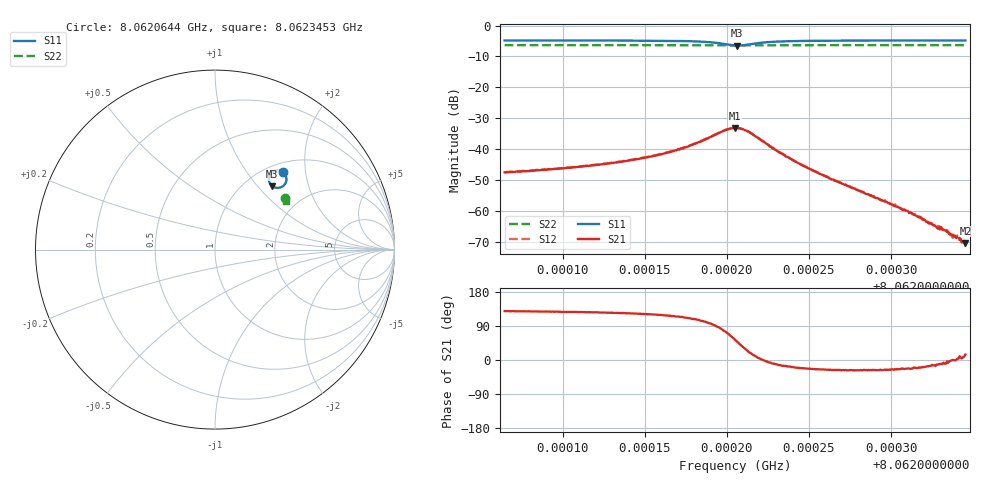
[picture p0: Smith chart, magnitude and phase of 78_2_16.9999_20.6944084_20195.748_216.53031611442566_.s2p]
#  HZ  S  RI  R  50.00
! Rohde & Schwarz Vector Network Analyzer
! Rohde-Schwarz,ZNB20-2Port,1311601062101988,3.16
! Created: UTC 3/20/2024, 10:55:36 PM
! freq[Hz]  re:S11  im:S11  re:S21  im:S21  re:S12  im:S12  re:S22  im:S22
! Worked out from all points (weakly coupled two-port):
!   401 points, 8.0620644 GHz to 8.0623453 GHz, reference 50 ohm
!   highest |S21| = -33.15 dB at 8.0622049 GHz (marker M1); lowest = -70.5 dB at 8.0623453 GHz (marker M2)
!   lowest |S11| = -6.4 dB at 8.0622063 GHz (marker M3), VSWR 2.82, Z = 65.7 + j60.1 ohm
!   |S11| at or under -10 dB: nowhere
!   |S22| runs from -6.4 to -6.3 dB; largest |S21 - S12| = 0.0016
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8.06206443e9  0.3812 0.4311  -0.00264 0.00324  -0.00246 0.00344  0.388 0.2865
8.06211149e9  0.3868 0.4248  -0.00309 0.00417  -0.00289 0.00441  0.3897 0.2839
8.06213466e9  0.3904 0.4196  -0.00344 0.0051  -0.00318 0.00538  0.3904 0.2825
8.06215854e9  0.3952 0.4102  -0.00394 0.00706  -0.00355 0.00742  0.3911 0.2811
8.06217469e9  0.3981 0.3965  -0.00393 0.0099  -0.00341 0.0101  0.3917 0.2796
8.06219014e9  0.3916 0.368  -0.00172 0.0156  -0.00053 0.0158  0.3915 0.2777
8.06219927e9  0.3622 0.3454  0.00568 0.0195  0.00697 0.0194  0.39 0.277
8.06220489e9  0.3276 0.3487  0.0132 0.0176  0.0142 0.0169  0.3888 0.2773
8.06220629e9  0.3193 0.3537  0.0147 0.0162  0.0158 0.0154  0.3885 0.2777
8.06221261e9  0.3003 0.3901  0.0176 0.00789  0.0183 0.00679  0.3886 0.2792
8.06222315e9  0.3183 0.4307  0.0127 -0.000507  0.0127 -0.00122  0.3904 0.2801
8.0622379e9  0.3447 0.4414  0.00687 -0.00214  0.00668 -0.00257  0.392 0.2794
8.06225194e9  0.3576 0.441  0.00415 -0.00181  0.00408 -0.00209  0.3929 0.2787
8.06229899e9  0.3745 0.435  0.00118 -0.00055  0.00118 -0.000633  0.395 0.2759
8.06231374e9  0.3772 0.4334  0.000815 -0.000293  0.000808 -0.000361  0.3956 0.2752
8.06232147e9  0.3784 0.4326  0.00063 -0.000194  0.000651 -0.000266  0.3958 0.2748
8.06232428e9  0.3788 0.4325  0.000608 -0.000167  0.000586 -0.00019  0.396 0.2746
8.06232849e9  0.3794 0.432  0.0005 -0.000108  0.000533 -0.000165  0.3961 0.2744
8.062332e9  0.3798 0.4316  0.000483 -6.04e-05  0.000492 -6.89e-05  0.3963 0.274
8.06233692e9  0.3805 0.4313  0.000394 -5.79e-06  0.000416 -3.29e-05  0.3966 0.2739
8.06234113e9  0.381 0.431  0.000383 2.62e-05  0.000354 -1.88e-06  0.3967 0.2738
8.06234534e9  0.3814 0.4305  0.00029 7.46e-05  0.000262 4.46e-05  0.3969 0.2735
